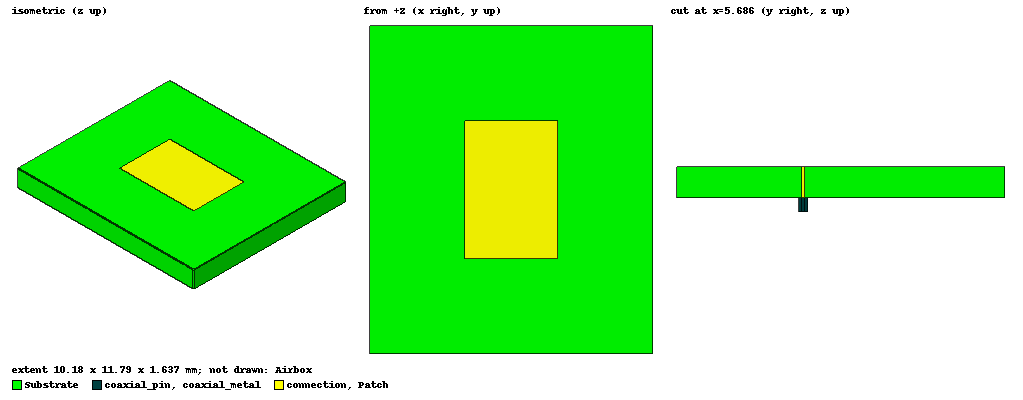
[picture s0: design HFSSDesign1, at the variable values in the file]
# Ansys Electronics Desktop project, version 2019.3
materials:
  vacuum: permittivity=1
  Rogers RO4003 (tm): permittivity=3.55 dielectric_loss_tangent=0.0027
  pec: conductivity=1e+30

design HFSSDesign1 (HFSS, DrivenModal, model units mm)
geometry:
  Substrate [Rogers RO4003 (tm)] = box(corner=(0mm, 0mm, 0mm), size=((6*1.1373+3.361) mm, (6*1.1373+4.969) mm, 1.1373mm))
  Patch = rectangle(corner=((3*1.1373) mm, (3*1.1373) mm, 1.1373mm), x_size=3.361mm, y_size=4.969mm)
  viaU = ellipse(normal=Z, centre=((5*1.1373) mm, (4*1.1373) mm, 0mm), major_radius=0.16mm, ratio=1)
  Ground = rectangle(corner=(0mm, 0mm, 0mm), x_size=10.1848mm, y_size=11.7928mm)
  Ground.subtract(viaU)
  coaxial_pin [pec] = cylinder(axis=Z, base_centre=((5*1.1373) mm, (4*1.1373) mm, 0mm), radius=0.16mm, height=-0.5mm)
  coaxial_metal [pec] = cylinder(axis=Z, base_centre=((5*1.1373) mm, (4*1.1373) mm, 0mm), radius=0.07mm, height=-0.5mm)
  connection [pec] = cylinder(axis=Z, base_centre=((5*1.1373) mm, (4*1.1373) mm, 0mm), radius=0.07mm, height=1.1373mm)
  Airbox [vacuum] = box(corner=(-10mm, 20mm, -1mm), size=(30mm, -40mm, 10mm))
  port1 = circle(normal=Z, centre=((5*1.1373) mm, (4*1.1373) mm, -0.5mm), radius=0.16mm)
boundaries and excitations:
  PerfE1: Perfect E Objects=Ground
  PerfE2: Perfect E Objects=Patch
  Rad1: Radiation Faces=Airbox.face(+x, -y, +y, -x, +z)
  1: Wave Port Objects=port1 NumModes=1 Modes{Mode1{CharImp=Zpi}}
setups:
  Setup1: HfssDriven Frequency=20GHz MaxDeltaS=0.02 MaximumPasses=20 MinimumPasses=1 MinimumConvergedPasses=1 PercentRefinement=30 BasisOrder=1 PortAccuracy=2
    sweep Sweep: 18GHz to 22GHz, 1001 points; Type=Fast SaveFields
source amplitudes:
  1:1: 1W 0deg
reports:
  S Parameter Plot 1: dB(S(1,1)) vs Freq on Setup1 : Sweep
